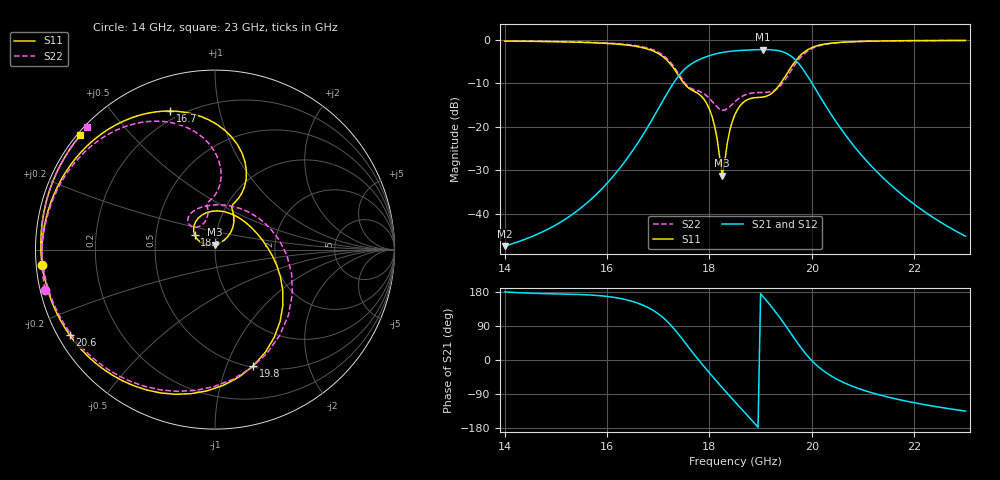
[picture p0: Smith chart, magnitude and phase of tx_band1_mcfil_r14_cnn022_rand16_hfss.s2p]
! Touchstone file exported from HFSS 3D Layout Design 2026.1.0
!  File:  D:/Work/SIM/ADS_AUTO_SIM/projects/RFSOC_RF/TX_Fillter.aedt
!  Generated:  12:40:54 AM Aug 31, 2026
!  Design:  TX_BAND1_MCFIL_R14_CNN022
!  Project:  TX_Fillter
# GHz S MA R 50.000000
! Terminal data exported
! Port[1] = Port1
! Port[2] = Port2
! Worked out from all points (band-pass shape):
!   181 points, 14 GHz to 23 GHz, reference 50 ohm
!   highest |S21| = -2.22 dB at 19.05 GHz (marker M1); lowest = -47.5 dB at 14 GHz (marker M2)
!   |S21| within 3 dB of the highest: 17.69 GHz to 19.73 GHz (2.037 GHz wide, 10.9 % of centre)
!   lowest |S11| = -31.2 dB at 18.25 GHz (marker M3), VSWR 1.06, Z = 49.7 + j2.73 ohm
!   |S11| at or under -10 dB: 17.5 GHz to 19.39 GHz (1.888 GHz wide, 10.2 % of centre)
!   |S22| runs from -16.2 to -0.1 dB; largest |S21 - S12| = 2e-14
!   S11 on the Smith chart (normalised r, x): 14 GHz: 0.02, -0.05; 16.7 GHz: 0.16, +0.71; 18.5 GHz: 0.79, +0.13; 19.8 GHz: 0.51, -1.25; 20.6 GHz: 0.03, -0.27; 23 GHz: 0.01, +0.37
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14  0.9693 -174.8  0.004232 179.7  0.004232 179.7  0.9726 -166.8
15.5  0.9372 152.5  0.01178 172.7  0.01178 172.7  0.9449 162.7
16.7  0.8119 108.0  0.08027 144.8  0.08027 144.8  0.8318 122.5
17  0.697 89.0  0.1602 122.0  0.1602 122.0  0.7219 105.7
17.25  0.5185 71.3  0.2871 91.4  0.2871 91.4  0.5433 90.0
17.55  0.2942 66.6  0.4787 41.1  0.4787 41.1  0.3046 89.9
17.8  0.2366 65.4  0.5931 -1.8  0.5931 -1.8  0.2567 100.1
18  0.1599 51.4  0.6585 -34.0  0.6585 -34.0  0.2121 100.6
18.15  0.07334 45.7  0.6969 -57.4  0.6969 -57.4  0.1691 107.8
18.25  0.02752 94.5  0.7167 -72.8  0.7167 -72.8  0.1551 118.6
18.5  0.1389 144.6  0.7477 -110.5  0.7477 -110.5  0.1943 136.0
18.8  0.2113 102.8  0.7663 -154.8  0.7663 -154.8  0.2432 123.3
19.05  0.2202 58.6  0.7741 167.0  0.7741 167.0  0.248 100.4
19.25  0.2516 20.4  0.7659 134.2  0.7659 134.2  0.2591 69.4
19.45  0.3558 -14.5  0.7229 98.0  0.7229 98.0  0.3282 21.9
19.65  0.5395 -47.7  0.6105 58.8  0.6105 58.8  0.4975 -30.0
19.8  0.6823 -71.8  0.4838 30.4  0.4838 30.4  0.6465 -63.5
20  0.8141 -99.5  0.3197 -1.5  0.3197 -1.5  0.7924 -98.0
20.3  0.9038 -129.4  0.164 -35.4  0.164 -35.4  0.896 -132.1
20.6  0.9394 -149.6  0.08946 -58.1  0.08946 -58.1  0.9373 -153.8
21.5  0.973 173.9  0.02252 -98.2  0.02252 -98.2  0.974 169.4
23  0.9842 139.7  0.005512 -134.8  0.005512 -134.8  0.9847 136.2
